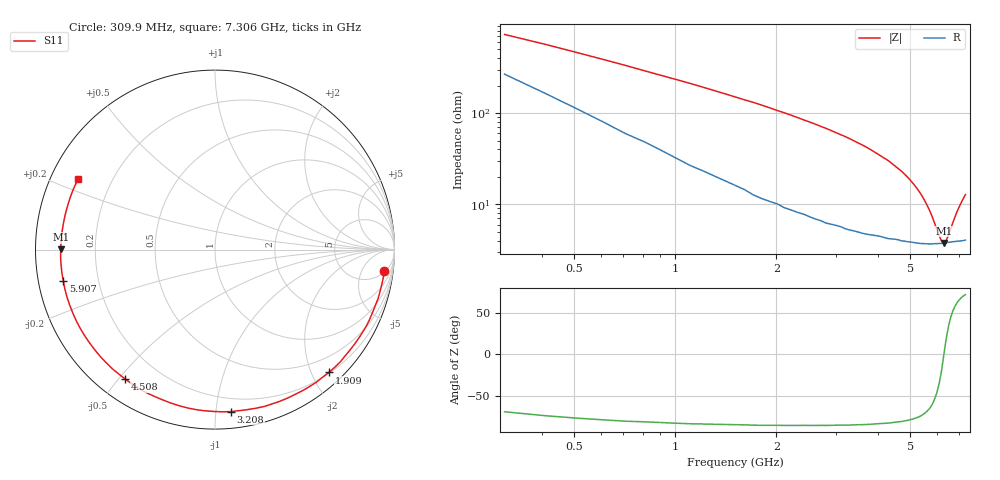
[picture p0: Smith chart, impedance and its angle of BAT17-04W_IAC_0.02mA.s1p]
! Infineon Technologies  Discrete & RF Semiconductors
! BAT17-04W
! IAC = 0.02 mA
! One-Port S-Parameters
# Hz  S  MA  R  50
!f  S11
!Hz  Mag  Ang
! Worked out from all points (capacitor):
!   71 points, 309.9 MHz to 7.306 GHz, reference 50 ohm
!   read as one part to ground: C = 714 fF near 309.9 MHz
!   lowest |Z| = 3.77 ohm at 6.307 GHz (marker M1)
!   series resonance near 6.304 GHz, so ESL is about 890 pH
!   S11 on the Smith chart (normalised r, x): 309.9 MHz: 5, -14; 1.909 GHz: 0.21, -2.27; 3.208 GHz: 0.11, -1.10; 4.508 GHz: 0.08, -0.52; 5.907 GHz: 0.07, -0.10; 7.306 GHz: 0.08, +0.24
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3.0985e8  0.9509 -7.3
7.0965e8  0.9487 -16.8
1.0095e9  0.9451 -24.1
1.2094e9  0.9425 -29.1
1.70915e9  0.9374 -41.7
1.90905e9  0.9329 -47.2
2.10895e9  0.9298 -52.7
2.4088e9  0.9219 -61.3
2.6087e9  0.9191 -66.9
2.8086e9  0.916 -72.6
3.0085e9  0.9095 -78.6
3.2084e9  0.9069 -84.4
3.50825e9  0.8995 -93.7
3.8081e9  0.8924 -103.0
4.10795e9  0.8847 -112.5
4.30785e9  0.8832 -118.2
4.50775e9  0.8776 -124.8
4.70765e9  0.8765 -130.7
5.0075e9  0.872 -140.3
5.2074e9  0.8702 -146.5
5.6072e9  0.8666 -159.1
5.90705e9  0.8633 -168.3
6.10695e9  0.862 -174.1
6.30685e9  0.8597 179.9
6.50675e9  0.858 174.2
6.8066e9  0.8569 165.8
7.0065e9  0.8573 160.5
7.30635e9  0.8577 152.6
